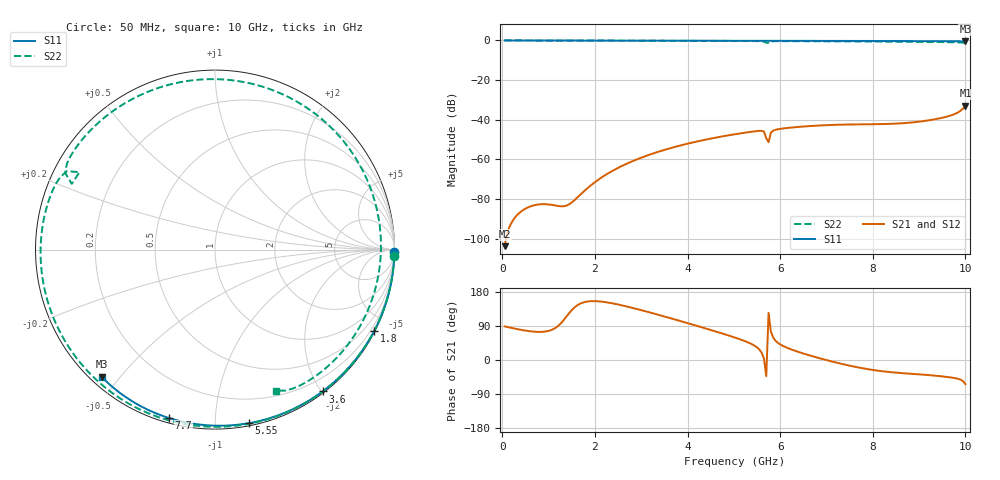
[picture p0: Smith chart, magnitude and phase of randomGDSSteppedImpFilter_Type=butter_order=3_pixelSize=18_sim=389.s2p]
! freq	dB(S11)	phase(S11)	dB(S12)	phase(S12)
!  dB(S21)	phase(S21)	dB(S22)	phase(S22)
!S-par simulation data
#  GHz  S  DB  R 50
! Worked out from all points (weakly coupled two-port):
!   200 points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, 50 MHz to 10 GHz, reference 50 ohm
!   highest |S21| = -32.89 dB at 10 GHz (marker M1); lowest = -103.7 dB at 50 MHz (marker M2)
!   lowest |S11| = -0.5 dB at 10 GHz (marker M3), VSWR 37.50, Z = 1.6 - j22.4 ohm
!   |S11| at or under -10 dB: nowhere
!   |S22| runs from -1.4 to 0.0 dB; largest |S21 - S12| = 0
!   S11 on the Smith chart (normalised r, x): 50 MHz: open; 1.8 GHz: 0.04, -4.16; 3.6 GHz: 0.02, -2.01; 5.55 GHz: 0.02, -1.22; 7.7 GHz: 0.02, -0.76; 10 GHz: 0.03, -0.45
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0.05  -0.00 -0.8  -103.71 88.6  -103.71 88.6  -0.01 -2.0
0.75  -0.01 -11.4  -82.79 74.3  -82.79 74.3  -0.03 -29.8
1.55  -0.03 -23.3  -80.69 137.7  -80.69 137.7  -0.07 -60.4
1.75  -0.03 -26.3  -76.33 151.9  -76.33 151.9  -0.08 -67.9
1.8  -0.03 -27.0  -75.27 153.5  -75.27 153.5  -0.09 -69.7
2.5  -0.05 -37.2  -64.23 146.5  -64.23 146.5  -0.11 -94.9
3.4  -0.07 -50.1  -55.89 118.3  -55.89 118.3  -0.15 -125.8
3.6  -0.07 -52.8  -54.49 111.4  -54.49 111.4  -0.16 -132.6
4.35  -0.09 -63.1  -50.20 84.8  -50.20 84.8  -0.20 -158.1
5.05  -0.11 -72.4  -47.18 58.1  -47.18 58.1  -0.26 177.2
5.55  -0.13 -78.9  -45.57 27.8  -45.57 27.8  -0.36 157.5
5.65  -0.13 -80.2  -45.93 3.4  -45.93 3.4  -0.59 152.1
5.75  -0.14 -81.4  -51.27 124.4  -51.27 124.4  -1.13 155.3
5.8  -0.14 -82.1  -46.47 75.2  -46.47 75.2  -0.55 152.9
5.85  -0.14 -82.7  -45.47 59.2  -45.47 59.2  -0.41 149.9
6.7  -0.18 -93.3  -43.07 9.9  -43.07 9.9  -0.40 111.5
7.2  -0.21 -99.3  -42.53 -6.5  -42.53 -6.5  -0.45 87.4
7.7  -0.24 -105.3  -42.30 -20.0  -42.30 -20.0  -0.52 61.3
8.35  -0.29 -112.9  -42.06 -31.7  -42.06 -31.7  -0.61 25.3
9.15  -0.36 -122.1  -40.48 -39.2  -40.48 -39.2  -0.75 -19.6
9.75  -0.42 -128.9  -37.27 -47.3  -37.27 -47.3  -0.92 -52.2
10  -0.46 -131.7  -32.89 -63.9  -32.89 -63.9  -1.36 -66.7
